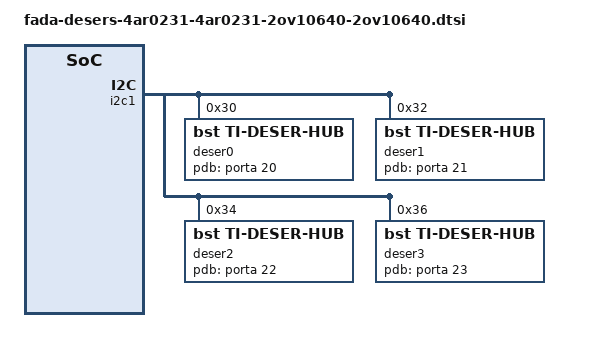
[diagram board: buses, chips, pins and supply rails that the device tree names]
&i2c1 {
    #address-cells = <1>;
    #size-cells = <0>;

    deser0: ti960@30 {
        compatible = "bst,ti-deser-hub";
        type = "ti960";
        ctl-mode = "fad-ctl";
        reg = <0x30>;
        i2c-port = <1>;
        csi2-port = <0>;
        lane-speed = <1600>;
        pdb-gpio = <&porta 20 0>;
    };

    deser1: ti960@32 {
        compatible = "bst,ti-deser-hub";
        type = "ti960";
        ctl-mode = "fad-ctl";
        reg = <0x32>;
        i2c-port = <1>;
        csi2-port = <0>;
        lane-speed = <1600>;
        pdb-gpio = <&porta 21 0>;
    };

    deser2: ti960@34 {
        compatible = "bst,ti-deser-hub";
        type = "ti960";
        ctl-mode = "fad-ctl";
        reg = <0x34>;
        i2c-port = <1>;
        csi2-port = <0>;
        lane-speed = <1600>;
        pdb-gpio = <&porta 22 0>;
    };

    deser3: ti960@36 {
        compatible = "bst,ti-deser-hub";
        type = "ti960";
        ctl-mode = "fad-ctl";
        reg = <0x36>;
        i2c-port = <1>;
        csi2-port = <0>;
        lane-speed = <1600>;
        pdb-gpio = <&porta 23 0>;
    };
};

#include "../common/a1000b-deser-2x2.dtsi"
